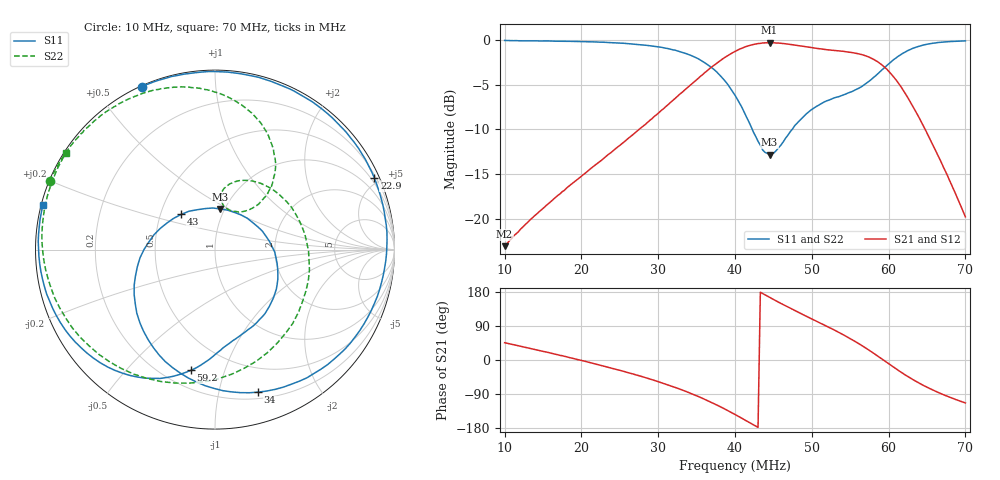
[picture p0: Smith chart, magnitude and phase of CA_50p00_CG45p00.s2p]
#  HZ  S  RI  R  50.00
! Rohde & Schwarz ZVT8 8Ports - Version 4.11 - 1300.0000k08 SN: 100242
! Date: 2026-07-31 15:12:51
! Measurements: S11 S21 S12 S22
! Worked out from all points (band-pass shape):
!   201 points, 10 MHz to 70 MHz, reference 50 ohm
!   highest |S21| = -0.29 dB at 44.5 MHz (marker M1); lowest = -23.1 dB at 10 MHz (marker M2)
!   |S21| within 3 dB of the highest: 36.56 MHz to 59.81 MHz (23.25 MHz wide, 48.3 % of centre)
!   lowest |S11| = -12.8 dB at 44.5 MHz (marker M3), VSWR 1.59, Z = 47.7 + j22.8 ohm
!   |S11| at or under -10 dB: 42.25 MHz to 47.44 MHz (5.194 MHz wide, 11.6 % of centre)
!   |S22| runs from -12.6 to 0.0 dB; largest |S21 - S12| = 0.0034
!   S11 on the Smith chart (normalised r, x): 10 MHz: 0.00, +0.65; 22.9 MHz: 0.30, +4.65; 34 MHz: 0.26, -1.31; 43 MHz: 0.64, +0.27; 59.2 MHz: 0.31, -0.77; 70 MHz: 0.00, +0.13
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1e7  -0.4093 0.9084  0.049 0.0501  0.0488 0.0501  -0.9209 0.3806
1.54e7  0.2097 0.9669  0.1103 0.0428  0.1101 0.0424  -0.8079 0.573
2.02e7  0.7048 0.6819  0.1756 -0.00641  0.175 -0.00644  -0.6577 0.7274
2.29e7  0.8882 0.3989  0.209 -0.0595  0.2094 -0.0589  -0.5474 0.803
2.65e7  0.9514 -0.0627  0.2362 -0.1693  0.2362 -0.1698  -0.3692 0.8805
3.01e7  0.7559 -0.5188  0.2095 -0.3326  0.2104 -0.3321  -0.1476 0.9054
3.4e7  0.2399 -0.7942  0.0375 -0.5496  0.0377 -0.5501  0.1249 0.8203
3.67e7  -0.1926 -0.6887  -0.2331 -0.6532  -0.2325 -0.6506  0.2846 0.6599
4e7  -0.4501 -0.1974  -0.6973 -0.5113  -0.6976 -0.5102  0.3216 0.3748
4.3e7  -0.1871 0.1965  -0.9564 -0.0362  -0.956 -0.0364  0.1707 0.2154
4.45e7  0.0298 0.2267  -0.9361 0.2445  -0.9357 0.246  0.087 0.2171
4.72e7  0.3037 0.0452  -0.6859 0.6525  -0.6856 0.6521  0.0333 0.3046
5.02e7  0.3337 -0.246  -0.2559 0.868  -0.2578 0.8678  0.1503 0.3856
5.35e7  0.1852 -0.4452  0.2532 0.8334  0.2537 0.8328  0.4023 0.2638
5.62e7  0.0595 -0.5369  0.621 0.5599  0.6197 0.5591  0.5263 -0.114
5.77e7  -0.0165 -0.5995  0.733 0.3055  0.7321 0.3046  0.4326 -0.412
5.92e7  -0.1332 -0.6722  0.7227 0.0217  0.7227 0.0197  0.1666 -0.6592
6.01e7  -0.2296 -0.7051  0.6511 -0.1275  0.6496 -0.1277  -0.0597 -0.7365
6.19e7  -0.4732 -0.7013  0.4247 -0.3076  0.4242 -0.3084  -0.5216 -0.6627
6.43e7  -0.7801 -0.5134  0.1484 -0.3121  0.1479 -0.3123  -0.8921 -0.2717
6.7e7  -0.9613 -0.1633  -0.00112 -0.2004  -0.00132 -0.2  -0.9559 0.1854
7e7  -0.9596 0.2478  -0.0406 -0.0938  -0.0408 -0.0936  -0.8301 0.5401
